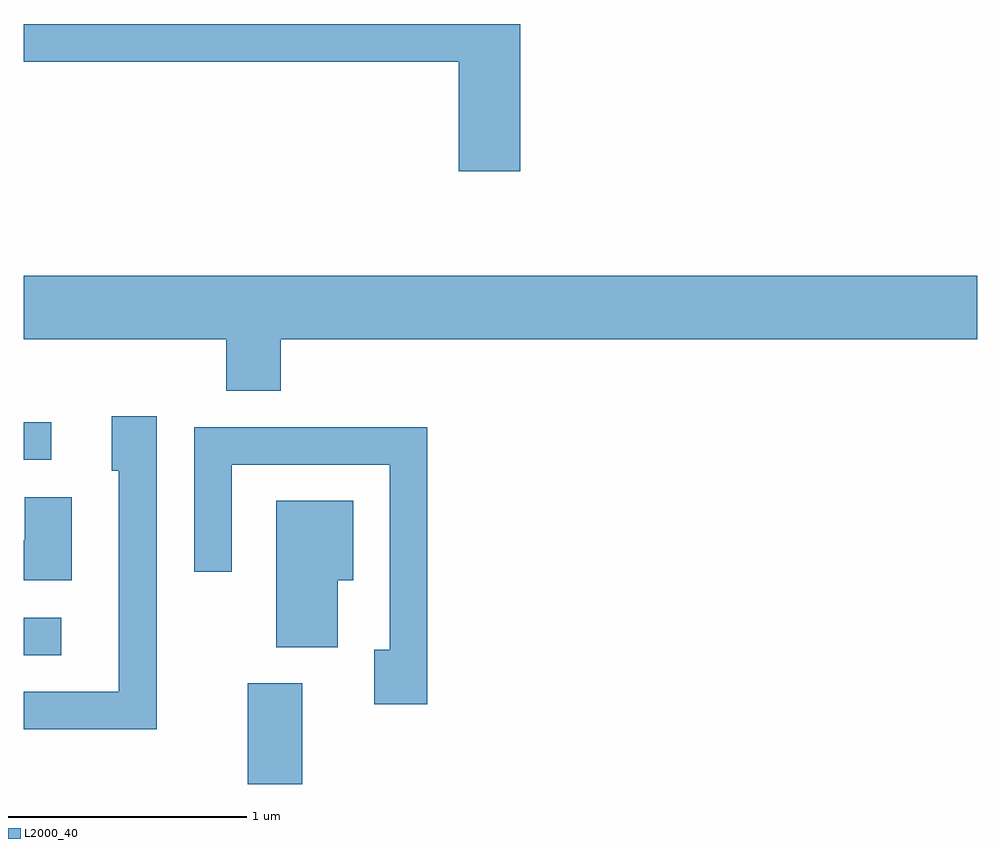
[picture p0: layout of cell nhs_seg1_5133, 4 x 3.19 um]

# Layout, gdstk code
import gdstk
lib = gdstk.Library(unit=1e-6, precision=1e-09)
def R(c, l, rs):  # rectangles x0, y0, x1, y1
    for r in rs: c.add(gdstk.rectangle(r[:2], r[2:], *l))
def P(c, l, *ps):  # polygons
    for p in ps: c.add(gdstk.Polygon(p, *l))
L2000_40 = (2000, 40)

nhs_seg1_5133 = lib.new_cell('nhs_seg1_5133')
R(nhs_seg1_5133, L2000_40, [(340.551,897.712,340.779,898.134), (339.611,898.251,339.768,898.409), (339.611,899.071,339.728,899.229)])
P(nhs_seg1_5133, L2000_40, [(341.694,900.899),(339.611,900.899),(339.611,900.741),(341.436,900.741),(341.436,900.281),(341.694,900.281)],
  [(340.689,899.576),(343.611,899.576),(343.611,899.844),(339.611,899.844),(339.611,899.576),(340.461,899.576),(340.461,899.361),(340.689,899.361)],
  [(340.169,899.254),(339.981,899.254),(339.981,899.026),(340.011,899.026),(340.011,898.099),(339.611,898.099),(339.611,897.941),(340.169,897.941)],
  [(341.304,899.209),(340.326,899.209),(340.326,898.603),(340.484,898.603),(340.484,899.051),(341.146,899.051),(341.146,898.274),(341.081,898.274),(341.081,898.046),(341.304,898.046)],
  [(339.814,898.914),(339.616,898.914),(339.616,898.734),(339.611,898.734),(339.611,898.566),(339.814,898.566)],
  [(340.929,898.566),(340.994,898.566),(340.994,898.899),(340.671,898.899),(340.671,898.286),(340.929,898.286)])

lib.write_gds('nhs_seg1_5133.gds')
